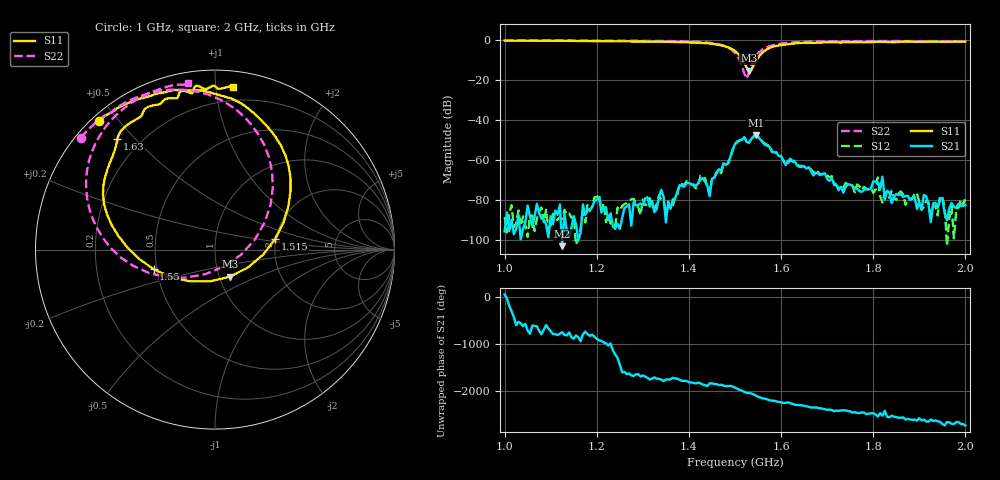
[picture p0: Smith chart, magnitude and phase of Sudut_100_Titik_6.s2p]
# Hz S RI R 50
! CMT, C1220, 16058040, 17.2.0/1
! Date: 14/08/2018 12:21:21
! Data: Format (Calibration Info)
! Freq  S11: Re/Im (F2)  S21: Re/Im (F2)  S12: Re/Im (F2)  S22: Re/Im (F2)
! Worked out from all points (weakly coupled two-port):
!   201 points, 1 GHz to 2 GHz, reference 50 ohm
!   highest |S21| = -47.49 dB at 1.545 GHz (marker M1); lowest = -103.0 dB at 1.125 GHz (marker M2)
!   lowest |S11| = -15.3 dB at 1.53 GHz (marker M3), VSWR 1.42, Z = 56.1 - j17.5 ohm
!   |S11| at or under -10 dB: 1.517 GHz to 1.547 GHz (30.44 MHz wide, 1.99 % of centre)
!   |S22| runs from -19.4 to -0.2 dB; largest |S21 - S12| = 0.00034
!   S11 on the Smith chart (normalised r, x): 1 GHz: 0.02, +0.45; 1.515 GHz: 1.99, +0.27; 1.55 GHz: 0.48, -0.12; 1.63 GHz: 0.12, +0.45; 2 GHz: 0.11, +1.11
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1e9  -0.6447 0.7159  1.06e-05 1.27e-05  -3.53e-05 -1.22e-05  -0.7481 0.6239
1.125e9  -0.5153 0.8026  6.21e-06 -3.38e-06  -1.66e-05 -3e-05  -0.6544 0.716
1.17e9  -0.4665 0.8236  2.23e-05 -7.45e-05  3.48e-05 -5.75e-05  -0.6116 0.7486
1.335e9  -0.1993 0.8877  5.84e-05 0.000104  3.4e-05 0.000128  -0.3966 0.8622
1.425e9  0.0862 0.8433  0.000275 -0.000173  0.000355 -0.000193  -0.115 0.883
1.445e9  0.1669 0.7999  0.000103 -7.14e-05  9.35e-05 -9.72e-05  -0.00559 0.8511
1.45e9  0.1897 0.7824  0.000291 -0.000182  0.000303 -0.000223  0.0264 0.8365
1.5e9  0.4206 0.3255  -0.00141 -0.00211  -0.00133 -0.00197  0.3222 0.3469
1.515e9  0.3361 0.06  -0.00322 0.000418  -0.00329 0.000285  0.2219 0.0555
1.53e9  0.0822 -0.1511  -0.00141 0.0023  -0.00144 0.00233  -0.056 -0.1373
1.545e9  -0.2449 -0.153  0.00146 0.00396  0.00135 0.00389  -0.3709 -0.1289
1.55e9  -0.3413 -0.1096  0.00278 0.00262  0.0027 0.00278  -0.4544 -0.0913
1.63e9  -0.5433 0.6182  -0.000542 -0.000757  -0.000467 -0.000757  -0.6866 0.542
1.67e9  -0.4217 0.7358  -0.000411 4.41e-05  -0.000505 6.2e-05  -0.6187 0.6705
1.76e9  -0.2559 0.8436  4.48e-05 0.00019  4.37e-05 0.00015  -0.4767 0.8094
1.8e9  -0.1985 0.8722  0.000179 0.000233  9.1e-05 0.000123  -0.4185 0.8455
1.81e9  -0.1841 0.8842  0.000263 -7.87e-05  0.000365 4.91e-05  -0.4049 0.8535
1.815e9  -0.1744 0.8852  0.000113 0.000154  0.00011 6.08e-05  -0.3977 0.8567
1.82e9  -0.1633 0.8831  0.000384 9.68e-06  5.54e-05 -6.65e-05  -0.391 0.86
1.825e9  -0.1517 0.8791  -2.62e-05 9.89e-05  9.31e-05 -0.000128  -0.3844 0.863
1.835e9  -0.133 0.8704  0.000132 -8.4e-05  9.32e-05 -6.51e-05  -0.3712 0.8697
2e9  0.0987 0.9038  -6.8e-05 3.29e-05  -0.000111 3.98e-05  -0.1492 0.9277
